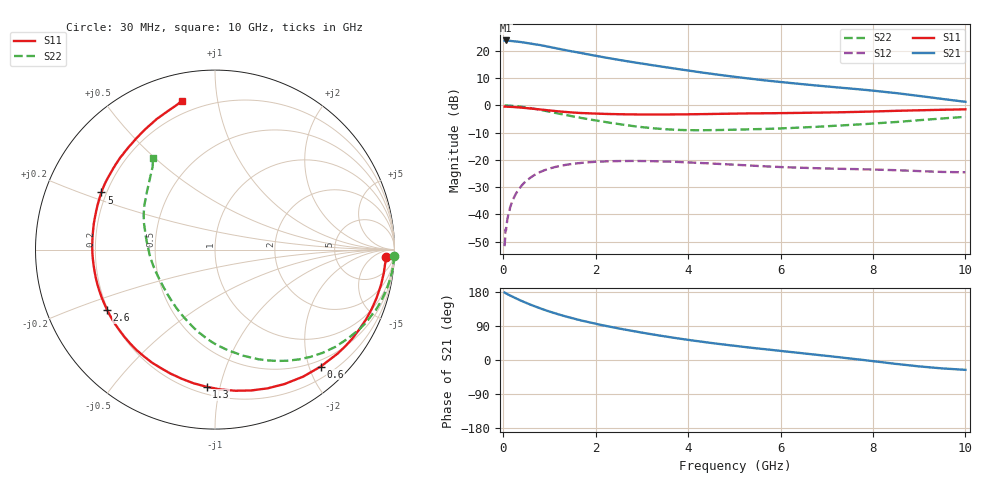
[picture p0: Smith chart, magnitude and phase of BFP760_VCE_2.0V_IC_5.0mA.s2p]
! Infineon Technologies  Discrete & RF Semiconductors
! BFP760
! VCE =  2.0 V,  IC =  5.0 mA
! Common Emitter S-Parameters:  Nov 2012
# GHz  S  MA  R  50
!  f  S11  S21  S12  S22
! GHz  MAG  ANG  MAG  ANG  MAG  ANG  MAG  ANG
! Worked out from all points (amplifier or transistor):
!   99 points, 30 MHz to 10 GHz, reference 50 ohm
!   highest |S21| = 23.9 dB at 50 MHz (marker M1)
!   |S21| within 3 dB of that: start of sweep to 1.182 GHz
!   unconditionally stable (mu >= 1): 6.237 GHz to end of sweep
!   at 350 MHz: K = 0.07, MSG = 27.0 dB, |S12| = -30.5 dB
!   at 3.5 GHz: K = 0.48, MSG = 17.3 dB, |S12| = -20.6 dB
!   at 10 GHz: K = 1.34, MAG = 9.5 dB, |S12| = -24.6 dB
!   S11 on the Smith chart (normalised r, x): 30 MHz: 22, -21; 600 MHz: 0.38, -2.20; 1.3 GHz: 0.25, -0.91; 2.6 GHz: 0.20, -0.25; 5 GHz: 0.18, +0.23; 10 GHz: 0.13, +0.79
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0.03  0.9527 -2.6  15.42 178.0  0.0026 89.1  0.9995 -1.9
0.05  0.9525 -4.2  15.65 176.3  0.0053 78.3  0.9983 -3.0
0.15  0.9446 -12.6  15.4 170.2  0.0135 82.6  0.9904 -9.0
0.35  0.9191 -28.8  14.72 158.5  0.0297 72.6  0.9573 -20.6
0.45  0.9039 -36.6  14.33 153.1  0.0377 68.1  0.9339 -26.0
0.6  0.8783 -47.9  13.69 145.6  0.048 61.0  0.8903 -33.9
0.8  0.8433 -62.6  12.87 136.3  0.06 52.9  0.8317 -43.7
0.9  0.8268 -69.2  12.39 132.0  0.065 49.1  0.7997 -48.4
1.1  0.7945 -81.8  11.44 124.1  0.0732 42.2  0.7382 -57.0
1.3  0.7658 -93.5  10.58 116.8  0.0796 36.2  0.6819 -64.8
1.5  0.7432 -104.4  9.807 110.2  0.0844 31.1  0.6316 -71.9
1.7  0.7256 -114.7  9.142 104.0  0.0882 26.5  0.5875 -78.7
2.1  0.7048 -132.3  7.9 92.9  0.0931 18.2  0.5141 -92.1
2.6  0.6888 -150.8  6.669 81.0  0.0954 10.0  0.4427 -107.2
3  0.6832 -163.9  5.888 72.3  0.0953 4.4  0.4006 -119.5
3.4  0.6824 -175.4  5.22 64.2  0.0939 -0.4  0.3719 -131.4
4.1  0.6905 168.0  4.269 51.5  0.0892 -7.0  0.3514 -151.1
5  0.7087 153.3  3.368 37.6  0.0817 -12.3  0.3588 -169.5
5.1  0.7108 151.9  3.29 36.1  0.0808 -12.6  0.3609 -171.2
6.7  0.7369 135.2  2.362 14.9  0.0707 -14.5  0.4027 165.4
8.5  0.7969 114.0  1.688 -10.3  0.0647 -15.2  0.4968 139.8
10  0.8493 102.5  1.168 -26.0  0.0592 -11.1  0.6184 124.0
